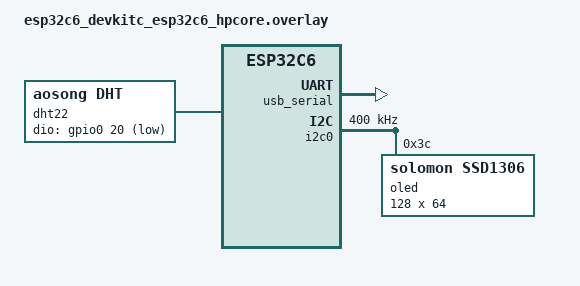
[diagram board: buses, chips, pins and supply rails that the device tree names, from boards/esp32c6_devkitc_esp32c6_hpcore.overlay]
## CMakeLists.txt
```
cmake_minimum_required(VERSION 3.20.0)

find_package(Zephyr REQUIRED HINTS $ENV{ZEPHYR_BASE})
project(poko)

target_sources(app PRIVATE src/main.c)

add_subdirectory(lib)
```

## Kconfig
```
mainmenu "Poko"

# Both animations are built in and can be switched from the web page;
# this only picks the one shown after power-up.
choice APP_ANIMATION
	prompt "Animation shown at power-up"
	default APP_ANIMATION_PONG

config APP_ANIMATION_PONG
	bool "Pong"
	help
	  Two computer-controlled paddles playing Pong, with the score in
	  the yellow area.

config APP_ANIMATION_SINE
	bool "Scrolling sine wave"
	help
	  A sine wave graph that slides continuously to the right.

endchoice

source "Kconfig.zephyr"
```

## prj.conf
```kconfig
# Animation shown at power-up (switch at runtime from the web page)
CONFIG_APP_ANIMATION_PONG=y
# CONFIG_APP_ANIMATION_SINE=y

# SSD1306 OLED display
CONFIG_I2C=y
CONFIG_DISPLAY=y

# DHT22 sensor
CONFIG_GPIO=y
CONFIG_SENSOR=y
CONFIG_DHT=y

# Stack for Wi-Fi and network setup in main()
CONFIG_MAIN_STACK_SIZE=4096

# Memory for the Wi-Fi driver and network threads. The defaults are too
# small once a device connects (station state, WPA2 handshake, DHCP reply).
# Heap: measured peak 49,924 B with one phone (the AP allows only one);
# 96 KB leaves room for bursts of Wi-Fi receive buffers. See MEMORY.md.
CONFIG_HEAP_MEM_POOL_SIZE=98304
# 3 KB: measured peak 1,640 B, plus the Wi-Fi idle check (lib/net/wifi_ap.c)
CONFIG_SYSTEM_WORKQUEUE_STACK_SIZE=3072
CONFIG_NET_MGMT_EVENT_STACK_SIZE=4096
CONFIG_NET_SOCKETS_SERVICE_STACK_SIZE=4096
CONFIG_NET_TX_STACK_SIZE=2048

# Wi-Fi access point
CONFIG_WIFI=y
CONFIG_NETWORKING=y
CONFIG_NET_L2_WIFI_MGMT=y
CONFIG_NET_MGMT=y
CONFIG_NET_MGMT_EVENT=y
CONFIG_NET_MGMT_EVENT_INFO=y
CONFIG_NET_IPV4=y
CONFIG_NET_IPV6=n
CONFIG_NET_UDP=y
CONFIG_NET_TCP=y
CONFIG_NET_DHCPV4_SERVER=y

# HTTP server
CONFIG_NET_SOCKETS=y
CONFIG_HTTP_SERVER=y
CONFIG_ZVFS_OPEN_MAX=16
CONFIG_ZVFS_POLL_MAX=8
CONFIG_NET_MAX_CONTEXTS=10
CONFIG_NET_MAX_CONN=10

# Debugging: log output and crash reports on the console
CONFIG_LOG=y
CONFIG_LOG_MODE_IMMEDIATE=y
CONFIG_THREAD_NAME=y
CONFIG_STACK_SENTINEL=y

# Shell on the USB console: "kernel thread stacks" shows stack usage
CONFIG_SHELL=y
CONFIG_KERNEL_SHELL=y
CONFIG_THREAD_MONITOR=y
CONFIG_INIT_STACKS=y
CONFIG_THREAD_STACK_INFO=y
# "kernel heap" shows heap usage and the peak since boot
CONFIG_SYS_HEAP_RUNTIME_STATS=y
```

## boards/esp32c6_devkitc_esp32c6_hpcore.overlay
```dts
/*
 * DHT22 sensor connected to GPIO20.
 * 0.96" SSD1306 128x64 OLED on I2C0: SCL = GPIO0, SDA = GPIO1.
 */

#include <zephyr/dt-bindings/gpio/gpio.h>
#include <zephyr/dt-bindings/pinctrl/esp32c6-pinctrl.h>

/ {
	chosen {
		zephyr,display = &oled;
		/* Console on the USB port used for flashing (/dev/ttyACM0) */
		zephyr,console = &usb_serial;
		zephyr,shell-uart = &usb_serial;
	};

	dht22: dht22 {
		compatible = "aosong,dht";
		status = "okay";
		dio-gpios = <&gpio0 20 (GPIO_ACTIVE_LOW | GPIO_PULL_UP)>;
		dht22;
	};
};

&gpio0 {
	status = "okay";
};

&usb_serial {
	status = "okay";
};

&i2c0_default {
	group1 {
		pinmux = <I2C0_SDA_GPIO1>,
			 <I2C0_SCL_GPIO0>;
	};
};

&i2c0 {
	status = "okay";
	clock-frequency = <I2C_BITRATE_FAST>;

	oled: ssd1306@3c {
		compatible = "solomon,ssd1306";
		reg = <0x3c>;
		width = <128>;
		height = <64>;
		segment-offset = <0>;
		page-offset = <0>;
		display-offset = <0>;
		multiplex-ratio = <63>;
		segment-remap;
		com-invdir;
		prechargep = <0x22>;
	};
};
```

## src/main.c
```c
#include <stdint.h>

#include <zephyr/kernel.h>
#include <zephyr/sys/printk.h>

#include "animation.h"
#include "gfx.h"
#include "temperature.h"
#include "web_server.h"
#include "wifi_ap.h"

#define FRAME_MS 30

int main(void)
{
	int64_t next_frame, hold_until;
	int32_t hold_ms;
	int ret;

	ret = gfx_init();
	if (ret < 0) {
		printk("Display init failed: %d\n", ret);
		return 0;
	}

	ret = temperature_init();
	if (ret < 0) {
		printk("DHT sensor is not ready: %d\n", ret);
	}

	ret = wifi_ap_start();
	if (ret < 0) {
		printk("Wi-Fi AP start failed: %d\n", ret);
	}

	ret = web_server_start();
	if (ret < 0) {
		printk("Web server start failed: %d\n", ret);
	}

	next_frame = k_uptime_get();
	hold_until = 0;

	while (1) {
		temperature_poll();

		/*
		 * While an animation holds a frame (e.g. Pong after a point), keep
		 * the screen as it is, but end the hold early on a switch request.
		 */
		if (k_uptime_get() >= hold_until || animation_switch_pending()) {
			gfx_clear();
			hold_ms = animation_run_frame();
			temperature_draw();

			ret = gfx_flush();
			if (ret < 0) {
				printk("Display write failed: %d\n", ret);
			}

			if (hold_ms > 0) {
				hold_until = k_uptime_get() + hold_ms;
				next_frame = k_uptime_get();
			}
		}

		next_frame += FRAME_MS;
		k_sleep(K_TIMEOUT_ABS_MS(next_frame));
	}

	return 0;
}
```
